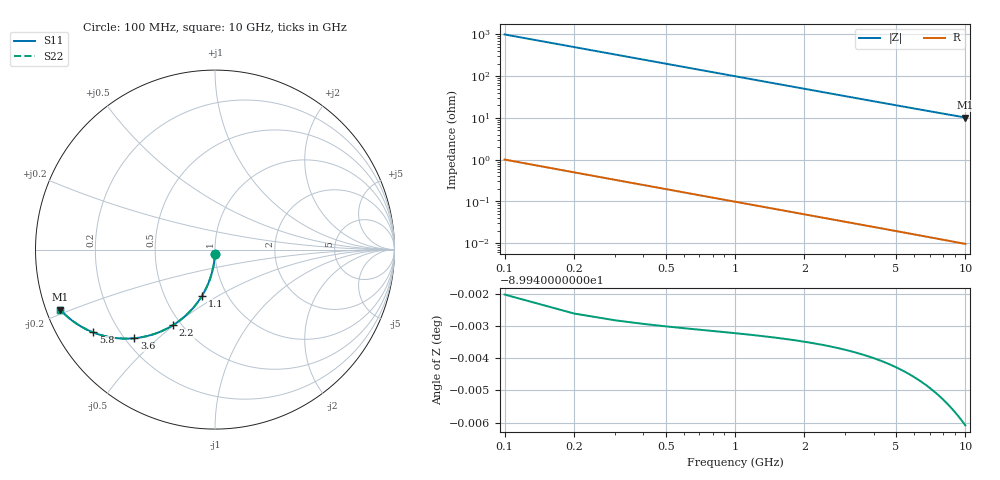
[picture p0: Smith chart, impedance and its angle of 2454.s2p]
# Hz S RI R 50.00
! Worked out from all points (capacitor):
!   100 points, 100 MHz to 10 GHz, reference 50 ohm
!   read as one part in shunt: C = 1.6 pF near 100 MHz
!   lowest |Z| = 10.2 ohm at 10 GHz (marker M1)
!   S11 on the Smith chart (normalised r, x): 100 MHz: 1.00, -0.05; 1.1 GHz: 0.77, -0.42; 2.2 GHz: 0.45, -0.50; 3.6 GHz: 0.24, -0.42; 5.8 GHz: 0.11, -0.30; 10 GHz: 0.04, -0.19
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1e8  -0.000639 -0.0251  0.9993 -0.0252  0.9993 -0.0252  -0.000639 -0.0251
2e8  -0.00256 -0.05  0.9974 -0.0504  0.9974 -0.0504  -0.00256 -0.05
3e8  -0.00573 -0.0748  0.9942 -0.0753  0.9942 -0.0753  -0.00573 -0.0748
4e8  -0.0101 -0.0993  0.9898 -0.1  0.9898 -0.1  -0.0101 -0.0993
5e8  -0.0157 -0.1234  0.9843 -0.1243  0.9843 -0.1243  -0.0157 -0.1234
6e8  -0.0224 -0.1471  0.9775 -0.1481  0.9775 -0.1481  -0.0224 -0.1471
7e8  -0.0302 -0.1702  0.9697 -0.1714  0.9697 -0.1714  -0.0302 -0.1702
9e8  -0.049 -0.2145  0.951 -0.2161  0.951 -0.2161  -0.049 -0.2145
1.1e9  -0.0713 -0.256  0.9286 -0.2579  0.9286 -0.2579  -0.0713 -0.256
1.4e9  -0.1105 -0.3119  0.8894 -0.3143  0.8894 -0.3143  -0.1105 -0.3119
1.8e9  -0.1702 -0.3738  0.8297 -0.377  0.8297 -0.377  -0.1702 -0.3738
2.2e9  -0.2344 -0.4211  0.7656 -0.4251  0.7656 -0.4251  -0.2344 -0.4211
2.8e9  -0.3311 -0.4676  0.6689 -0.4726  0.6689 -0.4726  -0.3311 -0.4676
3.4e9  -0.4215 -0.4903  0.5784 -0.4964  0.5784 -0.4964  -0.4215 -0.4903
3.6e9  -0.4495 -0.4937  0.5504 -0.5002  0.5504 -0.5002  -0.4495 -0.4937
4.3e9  -0.5377 -0.4942  0.4622 -0.502  0.4622 -0.502  -0.5377 -0.4942
5.1e9  -0.6204 -0.4802  0.3796 -0.4894  0.3796 -0.4894  -0.6204 -0.4802
5.8e9  -0.6786 -0.4612  0.3213 -0.4718  0.3213 -0.4718  -0.6786 -0.4612
6.7e9  -0.7378 -0.4331  0.262 -0.4454  0.262 -0.4454  -0.7378 -0.4331
7.5e9  -0.779 -0.4075  0.2209 -0.4213  0.2209 -0.4213  -0.779 -0.4075
8.4e9  -0.8155 -0.3796  0.1843 -0.3951  0.1843 -0.3951  -0.8155 -0.3796
1e10  -0.8624 -0.3346  0.1374 -0.3531  0.1374 -0.3531  -0.8624 -0.3346
